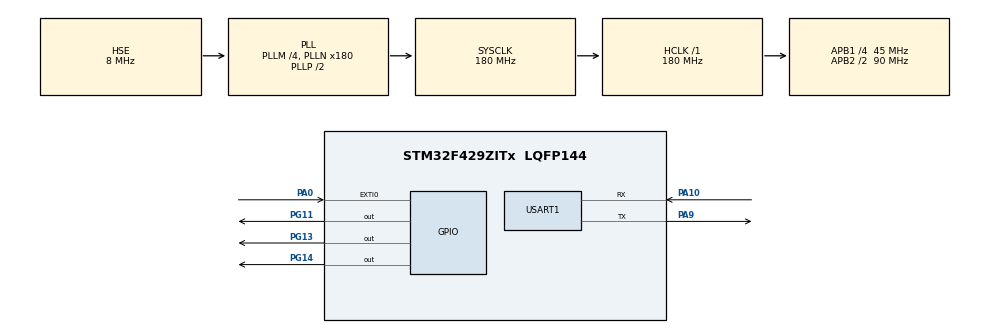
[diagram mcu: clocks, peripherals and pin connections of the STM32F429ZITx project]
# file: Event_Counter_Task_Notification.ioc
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FREERTOS.Tasks01=defaultTask,0,128,StartDefaultTask,Default,NULL,Dynamic,NULL,NULL
Mcu.Family=STM32F4
Mcu.Name=STM32F429ZITx
Mcu.Package=LQFP144
NVIC.EXTI0_IRQn=true\:7\:0\:true\:false\:true\:true\:true\:true\:true
NVIC.PriorityGroup=NVIC_PRIORITYGROUP_4
NVIC.TIM6_DAC_IRQn=true\:15\:0\:false\:false\:true\:false\:false\:true\:true
NVIC.TimeBase=TIM6_DAC_IRQn
NVIC.TimeBaseIP=TIM6
PA0/WKUP.Signal=GPXTI0
PA10.Mode=Asynchronous
PA10.Signal=USART1_RX
PA9.Mode=Asynchronous
PA9.Signal=USART1_TX
PG11.Signal=GPIO_Output
PG13.Signal=GPIO_Output
PG14.Signal=GPIO_Output
PH0/OSC_IN.Mode=HSE-External-Oscillator
PH0/OSC_IN.Signal=RCC_OSC_IN
PH1/OSC_OUT.Mode=HSE-External-Oscillator
PH1/OSC_OUT.Signal=RCC_OSC_OUT
ProjectManager.HeapSize=0x200
ProjectManager.StackSize=0x400
ProjectManager.TargetToolchain=STM32CubeIDE
RCC.48MHZClocksFreq_Value=51428571.428571425
RCC.AHBFreq_Value=180000000
RCC.APB1CLKDivider=RCC_HCLK_DIV4
RCC.APB1Freq_Value=45000000
RCC.APB1TimFreq_Value=90000000
RCC.APB2CLKDivider=RCC_HCLK_DIV2
RCC.APB2Freq_Value=90000000
RCC.APB2TimFreq_Value=180000000
RCC.CortexFreq_Value=180000000
RCC.HCLKFreq_Value=180000000
RCC.HSE_VALUE=8000000
RCC.HSI_VALUE=16000000
RCC.LSE_VALUE=32768
RCC.PLLM=4
RCC.PLLN=180
RCC.PLLQ=7
RCC.PLLSourceVirtual=RCC_PLLSOURCE_HSE
RCC.SYSCLKFreq_VALUE=180000000
RCC.SYSCLKSource=RCC_SYSCLKSOURCE_PLLCLK
RCC.VCOOutputFreq_Value=360000000
USART1.VirtualMode=VM_ASYNC
VP_FREERTOS_VS_CMSIS_V1.Mode=CMSIS_V1
VP_SYS_VS_tim6.Mode=TIM6
board=STM32F429I-DISC1

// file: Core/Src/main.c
/* USER CODE BEGIN Header */
/**
  ******************************************************************************
  * @file           : main.c
  * @brief          : Main program body
  ******************************************************************************
  * @attention
  *
  * Copyright (c) 2025 STMicroelectronics.
  * All rights reserved.
  *
  * This software is licensed under terms that can be found in the LICENSE file
  * in the root directory of this software component.
  * If no LICENSE file comes with this software, it is provided AS-IS.
  *
  ******************************************************************************
  */
/* USER CODE END Header */
#include "main.h"

#include "FreeRTOS.h"
#include "task.h"
#include "timers.h"
#include "queue.h"
#include "semphr.h"
#include "event_groups.h"

#include "string.h"
#include "stdio.h"

UART_HandleTypeDef huart1;

void SystemClock_Config(void);
static void MX_GPIO_Init(void);
static void MX_USART1_UART_Init(void);

/* USER CODE BEGIN 0 */

uint32_t txValue = 100;

/* *************************** Task Handles ******************************* */
TaskHandle_t Task01_Handle;

/* *************************** Task Functions ***************************** */
void Task01(void* pvParameters)
{
	uint32_t notificationValue = 0;
	for(;;)
	{

		// Block here until at least one notification is pending
		xTaskNotifyWait(pdFALSE, pdFALSE, &notificationValue, portMAX_DELAY);

		// notificationValue tells how many times ISR triggered since last check
		char str[50];
		sprintf(str, "Task01: Received %lu notifications from ISR\n", notificationValue);
		HAL_UART_Transmit(&huart1, (uint8_t*)str, strlen(str), HAL_MAX_DELAY);

		HAL_GPIO_TogglePin(GPIOG, GPIO_PIN_13);
	}
}

void HAL_GPIO_EXTI_Callback(uint16_t GPIO_Pin)
{
  if(GPIO_Pin == GPIO_PIN_0)
  {
	BaseType_t xHigherPriorityTaskWoken = pdFALSE;
	HAL_GPIO_TogglePin(GPIOG, GPIO_PIN_14);

	//xTaskNotifyFromISR(Task01_Handle, 0, eIncrement, &xHigherPriorityTaskWoken); // Increment notification value by 1

	xTaskNotifyFromISR(Task01_Handle, txValue, eSetValueWithOverwrite, &xHigherPriorityTaskWoken); // Set notification value to txValue
	txValue++;

	portYIELD_FROM_ISR(xHigherPriorityTaskWoken);
  }
}

/* USER CODE END 0 */

int main(void)
{

  /* MCU Configuration--------------------------------------------------------*/

  /* Reset of all peripherals, Initializes the Flash interface and the Systick. */
  HAL_Init();

  /* Configure the system clock */
  SystemClock_Config();

  /* Initialize all configured peripherals */
  MX_GPIO_Init();
  MX_USART1_UART_Init();
  /* USER CODE BEGIN 2 */

  xTaskCreate(Task01, "Task01", 128, NULL, 1, &Task01_Handle);

  vTaskStartScheduler();

  /* USER CODE END 2 */

  /* We should never get here as control is now taken by the scheduler */

  /* Infinite loop */
  while (1)
  {

  }
}

void SystemClock_Config(void)
{
  RCC_OscInitTypeDef RCC_OscInitStruct = {0};
  RCC_ClkInitTypeDef RCC_ClkInitStruct = {0};

  /** Configure the main internal regulator output voltage
  */
  __HAL_RCC_PWR_CLK_ENABLE();
  __HAL_PWR_VOLTAGESCALING_CONFIG(PWR_REGULATOR_VOLTAGE_SCALE1);

  /** Initializes the RCC Oscillators according to the specified parameters
  * in the RCC_OscInitTypeDef structure.
  */
  RCC_OscInitStruct.OscillatorType = RCC_OSCILLATORTYPE_HSE;
  RCC_OscInitStruct.HSEState = RCC_HSE_ON;
  RCC_OscInitStruct.PLL.PLLState = RCC_PLL_ON;
  RCC_OscInitStruct.PLL.PLLSource = RCC_PLLSOURCE_HSE;
  RCC_OscInitStruct.PLL.PLLM = 4;
  RCC_OscInitStruct.PLL.PLLN = 180;
  RCC_OscInitStruct.PLL.PLLP = RCC_PLLP_DIV2;
  RCC_OscInitStruct.PLL.PLLQ = 7;
  if (HAL_RCC_OscConfig(&RCC_OscInitStruct) != HAL_OK)
  {
    Error_Handler();
  }

  /** Activate the Over-Drive mode
  */
  if (HAL_PWREx_EnableOverDrive() != HAL_OK)
  {
    Error_Handler();
  }

  /** Initializes the CPU, AHB and APB buses clocks
  */
  RCC_ClkInitStruct.ClockType = RCC_CLOCKTYPE_HCLK|RCC_CLOCKTYPE_SYSCLK
                              |RCC_CLOCKTYPE_PCLK1|RCC_CLOCKTYPE_PCLK2;
  RCC_ClkInitStruct.SYSCLKSource = RCC_SYSCLKSOURCE_PLLCLK;
  RCC_ClkInitStruct.AHBCLKDivider = RCC_SYSCLK_DIV1;
  RCC_ClkInitStruct.APB1CLKDivider = RCC_HCLK_DIV4;
  RCC_ClkInitStruct.APB2CLKDivider = RCC_HCLK_DIV2;

  if (HAL_RCC_ClockConfig(&RCC_ClkInitStruct, FLASH_LATENCY_5) != HAL_OK)
  {
    Error_Handler();
  }
}

static void MX_USART1_UART_Init(void)
{

  huart1.Instance = USART1;
  huart1.Init.BaudRate = 115200;
  huart1.Init.WordLength = UART_WORDLENGTH_8B;
  huart1.Init.StopBits = UART_STOPBITS_1;
  huart1.Init.Parity = UART_PARITY_NONE;
  huart1.Init.Mode = UART_MODE_TX_RX;
  huart1.Init.HwFlowCtl = UART_HWCONTROL_NONE;
  huart1.Init.OverSampling = UART_OVERSAMPLING_16;
  if (HAL_UART_Init(&huart1) != HAL_OK)
  {
    Error_Handler();
  }

}

static void MX_GPIO_Init(void)
{
  GPIO_InitTypeDef GPIO_InitStruct = {0};

  /* GPIO Ports Clock Enable */
  __HAL_RCC_GPIOH_CLK_ENABLE();
  __HAL_RCC_GPIOA_CLK_ENABLE();
  __HAL_RCC_GPIOG_CLK_ENABLE();

  /*Configure GPIO pin Output Level */
  HAL_GPIO_WritePin(GPIOG, GPIO_PIN_11|GPIO_PIN_13|GPIO_PIN_14, GPIO_PIN_RESET);

  /*Configure GPIO pin : PA0 */
  GPIO_InitStruct.Pin = GPIO_PIN_0;
  GPIO_InitStruct.Mode = GPIO_MODE_IT_FALLING; // GPIO_MODE_IT_FALLING     GPIO_MODE_IT_RISING
  GPIO_InitStruct.Pull = GPIO_NOPULL;
  HAL_GPIO_Init(GPIOA, &GPIO_InitStruct);

  /*Configure GPIO pins : PG11 PG13 PG14 */
  GPIO_InitStruct.Pin = GPIO_PIN_11|GPIO_PIN_13|GPIO_PIN_14;
  GPIO_InitStruct.Mode = GPIO_MODE_OUTPUT_PP;
  GPIO_InitStruct.Pull = GPIO_NOPULL;
  GPIO_InitStruct.Speed = GPIO_SPEED_FREQ_LOW;
  HAL_GPIO_Init(GPIOG, &GPIO_InitStruct);

  /* EXTI interrupt init*/
  HAL_NVIC_SetPriority(EXTI0_IRQn, 7, 0);
  HAL_NVIC_EnableIRQ(EXTI0_IRQn);

}

void HAL_TIM_PeriodElapsedCallback(TIM_HandleTypeDef *htim)
{
  if (htim->Instance == TIM6)
  {
    HAL_IncTick();
  }
}

void Error_Handler(void)
{
  __disable_irq();
  while (1)
  {
  }
}
